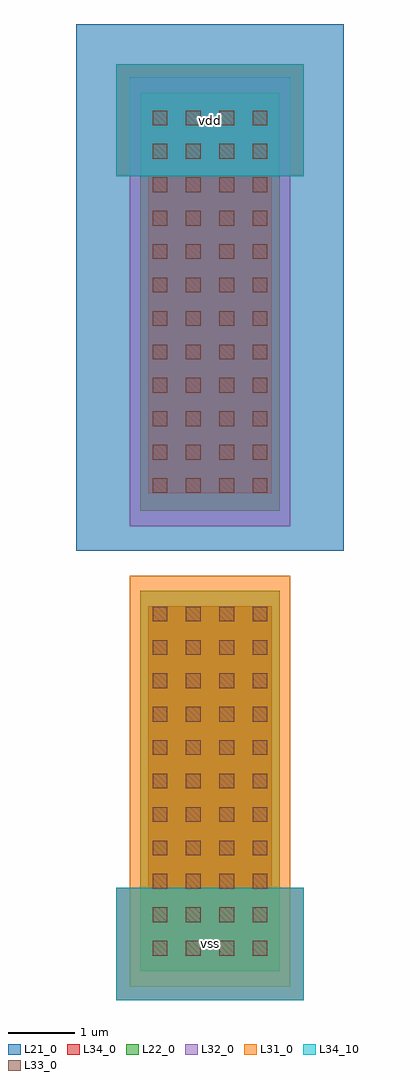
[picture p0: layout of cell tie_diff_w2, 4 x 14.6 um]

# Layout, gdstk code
import gdstk
lib = gdstk.Library(unit=1e-6, precision=1e-09)
def R(c, l, rs):  # rectangles x0, y0, x1, y1
    for r in rs: c.add(gdstk.rectangle(r[:2], r[2:], *l))
def A(c, l, x, y, w, h, nx, ny, dx, dy):  # array of equal rectangles
    R(c, l, [(x+i*dx, y+j*dy, x+i*dx+w, y+j*dy+h) for i in range(nx) for j in range(ny)])
def P(c, l, *ps):  # polygons
    for p in ps: c.add(gdstk.Polygon(p, *l))
L21_0 = (21, 0)
L22_0 = (22, 0)
L31_0 = (31, 0)
L32_0 = (32, 0)
L33_0 = (33, 0)
L34_0 = (34, 0)
L34_10 = (34, 10)

tie_diff_w2 = lib.new_cell('tie_diff_w2')
R(tie_diff_w2, L21_0, [(-0.6,6.72,3.4,14.6)])
R(tie_diff_w2, L22_0, [(0.36,0.43,2.44,6.12), (0.36,7.32,2.44,13.57)])
R(tie_diff_w2, L31_0, [(0.2,0.2,2.6,6.35)])
R(tie_diff_w2, L32_0, [(0.2,7.09,2.6,13.8)])
A(tie_diff_w2, L33_0, 0.54, 0.665, 0.22, 0.22, 4, 11, 0.5, 0.5)
A(tie_diff_w2, L33_0, 0.54, 7.585, 0.22, 0.22, 4, 12, 0.5, 0.5)
P(tie_diff_w2, L34_0, [(0.48,7.58),(0.48,12.32),(0,12.32),(0,14),(2.8,14),(2.8,12.32),(2.32,12.32),(2.32,7.58)],
  [(0,0),(0,1.68),(0.48,1.68),(0.48,5.89),(2.32,5.89),(2.32,1.68),(2.8,1.68),(2.8,0)])
R(tie_diff_w2, L34_10, [(0,0,2.8,1.68), (0,12.32,2.8,14)])
tie_diff_w2.add(gdstk.Label('vdd', (1.4,13.16), layer=34, texttype=10))
tie_diff_w2.add(gdstk.Label('vss', (1.4,0.84), layer=34, texttype=10))

lib.write_gds('tie_diff_w2.gds')
